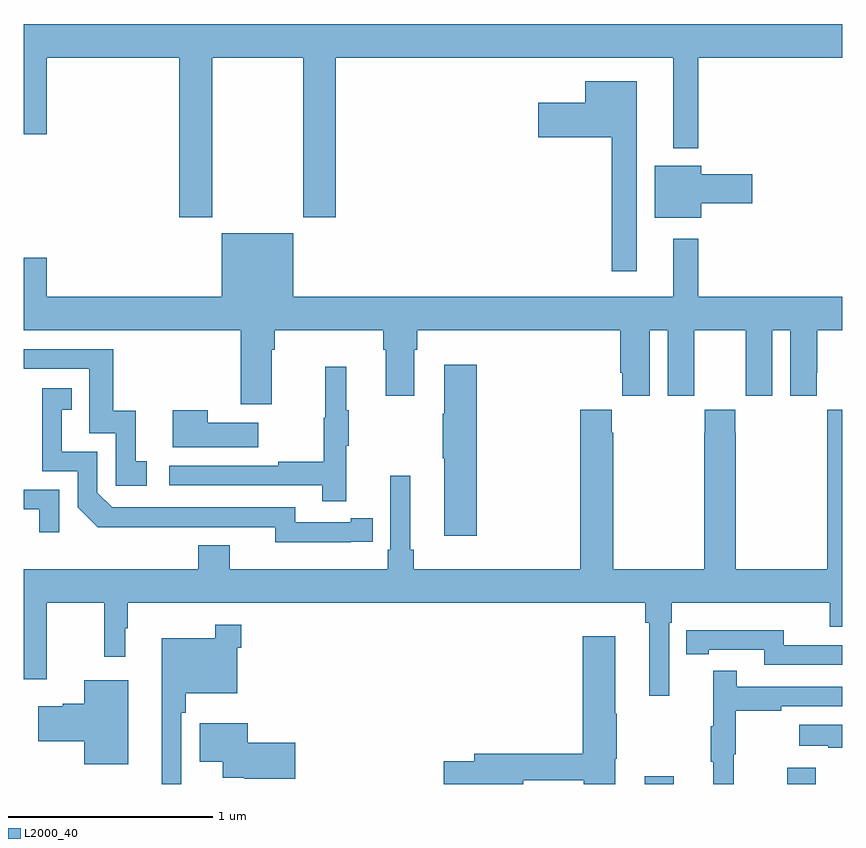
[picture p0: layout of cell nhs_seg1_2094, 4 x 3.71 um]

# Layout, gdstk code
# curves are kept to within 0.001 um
import gdstk
lib = gdstk.Library(unit=1e-6, precision=1e-09)
def R(c, l, rs):  # rectangles x0, y0, x1, y1
    for r in rs: c.add(gdstk.rectangle(r[:2], r[2:], *l))
def P(c, l, *ps):  # polygons
    for p in ps: c.add(gdstk.Polygon(p, *l))
L2000_40 = (2000, 40)

nhs_seg1_2094 = lib.new_cell('nhs_seg1_2094')
R(nhs_seg1_2094, L2000_40, [(228.035,532.199,228.175,532.237), (228.731,532.199,228.871,532.279)])
P(nhs_seg1_2094, L2000_40, [(225.921,535.748),(226.366,535.748),(226.366,534.969),(226.526,534.969),(226.526,535.748),(228.173,535.748),(228.173,535.304),(228.295,535.304),(228.295,535.748),(229,535.748),(229,535.912),(225,535.912),(225,535.374),(225.112,535.374),(225.112,535.748),(225.761,535.748),(225.761,534.969),(225.921,534.969)],
  [(227.995,535.633),(227.744,535.633),(227.744,535.528),(227.514,535.528),(227.514,535.358),(227.874,535.358),(227.874,534.705),(227.995,534.705)],
  [(228.31,535.036),(228.559,535.036),(228.559,535.178),(228.31,535.178),(228.31,535.219),(228.083,535.219),(228.083,534.965),(228.31,534.965)],
  [(225.968,534.58),(225.112,534.58),(225.112,534.769),(225,534.769),(225,534.416),(226.061,534.416),(226.061,534.054),(226.213,534.054),(226.213,534.32),(226.226,534.32),(226.226,534.416),(226.757,534.416),(226.757,534.32),(226.769,534.32),(226.769,534.096),(226.909,534.096),(226.909,534.32),(226.922,534.32),(226.922,534.416),(227.915,534.416),(227.915,534.208),(227.924,534.208),(227.924,534.096),(228.058,534.096),(228.058,534.416),(228.146,534.416),(228.146,534.096),(228.276,534.096),(228.276,534.208),(228.277,534.208),(228.277,534.416),(228.527,534.416),(228.527,534.208),(228.528,534.208),(228.528,534.096),(228.658,534.096),(228.658,534.416),(228.746,534.416),(228.746,534.096),(228.876,534.096),(228.876,534.208),(228.877,534.208),(228.877,534.416),(229,534.416),(229,534.58),(228.295,534.58),(228.295,534.862),(228.173,534.862),(228.173,534.58),(226.318,534.58),(226.318,534.889),(225.968,534.889)],
  [(225.601,533.775),(225.548,533.775),(225.548,534.022),(225.437,534.022),(225.437,534.324),(225,534.324),(225,534.228),(225.321,534.228),(225.321,533.913),(225.45,533.913),(225.45,533.655),(225.601,533.655)],
  [(227.213,534.247),(227.054,534.247),(227.054,534.008),(227.047,534.008),(227.047,533.791),(227.054,533.791),(227.054,533.412),(227.213,533.412)],
  [(226.577,533.851),(226.588,533.851),(226.588,534.025),(226.577,534.025),(226.577,534.238),(226.474,534.238),(226.474,533.988),(226.467,533.988),(226.467,533.774),(226.243,533.774),(226.243,533.754),(225.711,533.754),(225.711,533.658),(226.459,533.658),(226.459,533.58),(226.577,533.58)],
  [(226.598,533.382),(226.706,533.382),(226.706,533.498),(226.598,533.498),(226.598,533.478),(226.326,533.478),(226.326,533.55),(225.432,533.55),(225.36,533.622),(225.36,533.823),(225.187,533.823),(225.187,534.027),(225.236,534.027),(225.236,534.133),(225.09,534.133),(225.09,533.727),(225.264,533.727),(225.264,533.55),(225.362,533.453),(226.23,533.454),(226.23,533.381)],
  [(228.153,532.988),(228.167,532.988),(228.167,533.084),(228.938,533.084),(228.938,532.967),(229,532.967),(229,534.028),(228.927,534.028),(228.927,533.915),(228.925,533.915),(228.925,533.248),(228.48,533.248),(228.48,533.915),(228.477,533.915),(228.477,534.028),(228.327,534.028),(228.327,533.915),(228.325,533.915),(228.325,533.248),(227.88,533.248),(227.88,533.915),(227.873,533.915),(227.873,534.028),(227.72,534.028),(227.72,533.248),(226.907,533.248),(226.907,533.344),(226.888,533.344),(226.888,533.704),(226.791,533.704),(226.791,533.344),(226.778,533.344),(226.778,533.248),(226.006,533.248),(226.006,533.365),(225.854,533.365),(225.854,533.248),(225,533.248),(225,532.71),(225.112,532.71),(225.112,533.084),(225.394,533.084),(225.394,532.821),(225.496,532.821),(225.496,532.961),(225.508,532.961),(225.508,533.084),(228.037,533.084),(228.037,532.988),(228.056,532.988),(228.056,532.629),(228.153,532.629)],
  [(226.147,533.965),(225.899,533.965),(225.899,534.025),(225.728,534.025),(225.728,533.843),(226.147,533.843)],
  [(225.174,533.637),(225,533.637),(225,533.541),(225.077,533.541),(225.077,533.43),(225.174,533.43)],
  [(225.771,532.547),(225.791,532.547),(225.791,532.643),(226.044,532.643),(226.044,532.865),(226.064,532.865),(226.064,532.978),(225.936,532.978),(225.936,532.912),(225.674,532.912),(225.674,532.199),(225.771,532.199)],
  [(229,532.878),(228.714,532.878),(228.714,532.951),(228.346,532.951),(228.346,532.95),(228.238,532.95),(228.238,532.834),(228.346,532.834),(228.346,532.854),(228.618,532.854),(228.618,532.782),(229,532.782)],
  [(227.44,532.218),(227.737,532.218),(227.737,532.199),(227.89,532.199),(227.89,532.323),(227.898,532.323),(227.898,532.541),(227.89,532.541),(227.89,532.921),(227.732,532.921),(227.732,532.346),(227.201,532.346),(227.201,532.31),(227.052,532.31),(227.052,532.199),(227.44,532.199)],
  [(228.47,532.344),(228.478,532.344),(228.478,532.558),(228.701,532.558),(228.701,532.578),(229,532.578),(229,532.674),(228.485,532.674),(228.485,532.753),(228.368,532.753),(228.368,532.481),(228.357,532.481),(228.357,532.307),(228.368,532.307),(228.368,532.199),(228.47,532.199)],
  [(225.511,532.705),(225.296,532.705),(225.296,532.592),(225.192,532.592),(225.192,532.579),(225.072,532.579),(225.072,532.409),(225.296,532.409),(225.296,532.295),(225.511,532.295)],
  [(226.327,532.4),(226.096,532.4),(226.096,532.495),(225.86,532.495),(225.86,532.307),(225.974,532.307),(225.974,532.229),(226.078,532.229),(226.078,532.224),(226.327,532.224)],
  [(229,532.489),(228.789,532.489),(228.789,532.385),(228.932,532.385),(228.932,532.375),(229,532.375)])

lib.write_gds('nhs_seg1_2094.gds')
